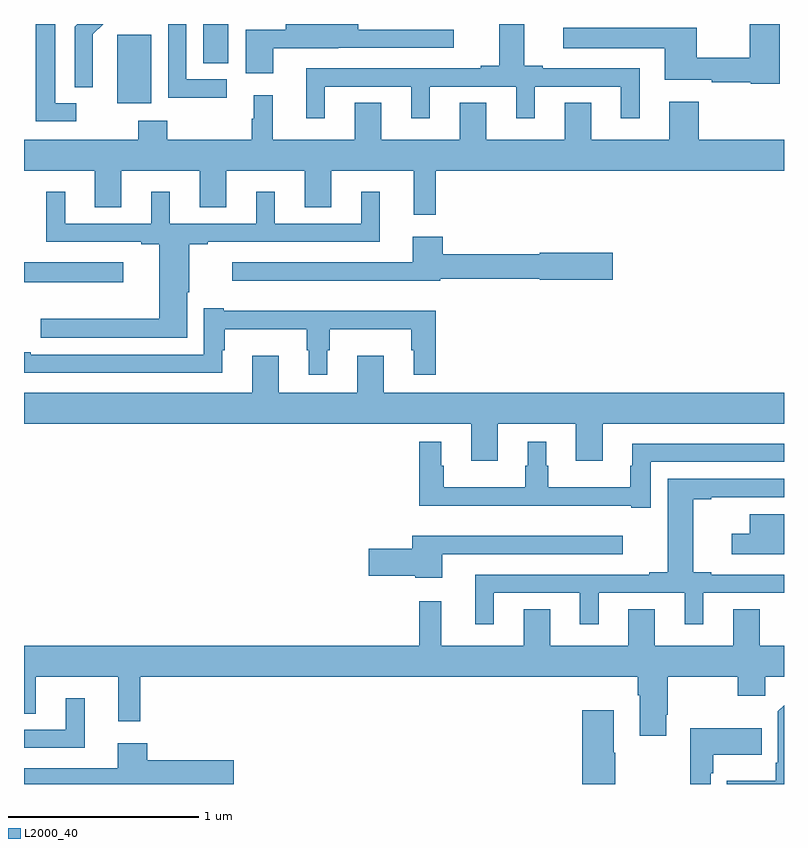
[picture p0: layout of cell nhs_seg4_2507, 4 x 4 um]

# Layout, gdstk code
import gdstk
lib = gdstk.Library(unit=1e-6, precision=1e-09)
def R(c, l, rs):  # rectangles x0, y0, x1, y1
    for r in rs: c.add(gdstk.rectangle(r[:2], r[2:], *l))
def P(c, l, *ps):  # polygons
    for p in ps: c.add(gdstk.Polygon(p, *l))
L2000_40 = (2000, 40)

nhs_seg4_2507 = lib.new_cell('nhs_seg4_2507')
R(nhs_seg4_2507, L2000_40, [(241,821.54,241.522,821.647), (241.49,822.482,241.669,822.843), (241.943,822.694,242.074,822.9)])
P(nhs_seg4_2507, L2000_40, [(242.311,822.772),(242.654,822.772),(242.654,822.774),(243.262,822.774),(243.262,822.871),(242.758,822.871),(242.758,822.9),(242.378,822.9),(242.378,822.871),(242.168,822.871),(242.168,822.642),(242.311,822.642)],
  [(244.978,822.9),(244.82,822.9),(244.82,822.722),(244.54,822.722),(244.54,822.88),(243.837,822.88),(243.837,822.773),(244.373,822.773),(244.373,822.606),(244.619,822.606),(244.619,822.594),(244.824,822.594),(244.824,822.586),(244.978,822.586)],
  [(242.584,822.57),(243.038,822.57),(243.038,822.405),(243.136,822.405),(243.136,822.57),(243.59,822.57),(243.59,822.405),(243.688,822.405),(243.688,822.57),(244.142,822.57),(244.142,822.405),(244.24,822.405),(244.24,822.666),(243.73,822.666),(243.73,822.679),(243.634,822.679),(243.634,822.9),(243.5,822.9),(243.5,822.679),(243.404,822.679),(243.404,822.666),(242.486,822.666),(242.486,822.405),(242.584,822.405)],
  [(241.276,822.483),(241.165,822.483),(241.165,822.9),(241.061,822.9),(241.061,822.387),(241.276,822.387)],
  [(241.362,822.722),(241.361,822.722),(241.361,822.845),(241.416,822.9),(241.28,822.9),(241.266,822.886),(241.266,822.568),(241.362,822.568)],
  [(242.068,822.609),(241.854,822.609),(241.854,822.9),(241.758,822.9),(241.758,822.511),(242.068,822.511)],
  [(243.167,822.128),(245,822.128),(245,822.292),(244.55,822.292),(244.55,822.49),(244.397,822.49),(244.397,822.292),(243.985,822.292),(243.985,822.485),(243.845,822.485),(243.845,822.292),(243.433,822.292),(243.433,822.485),(243.293,822.485),(243.293,822.292),(242.881,822.292),(242.881,822.485),(242.741,822.485),(242.741,822.292),(242.309,822.292),(242.309,822.526),(242.21,822.526),(242.21,822.401),(242.199,822.401),(242.199,822.292),(241.755,822.292),(241.755,822.391),(241.6,822.391),(241.6,822.292),(241,822.292),(241,822.128),(241.373,822.128),(241.373,821.935),(241.513,821.935),(241.513,822.128),(241.925,822.128),(241.925,821.935),(242.065,821.935),(242.065,822.128),(242.477,822.128),(242.477,821.935),(242.617,821.935),(242.617,822.128),(243.05,822.128),(243.05,821.895),(243.167,821.895)],
  [(241.858,821.487),(241.87,821.487),(241.87,821.742),(241.966,821.742),(241.966,821.754),(242.873,821.754),(242.873,822.016),(242.774,822.016),(242.774,821.85),(242.32,821.85),(242.32,822.016),(242.222,822.016),(242.222,821.85),(241.768,821.85),(241.768,822.016),(241.67,822.016),(241.67,821.85),(241.216,821.85),(241.216,822.016),(241.118,822.016),(241.118,821.754),(241.616,821.754),(241.616,821.742),(241.712,821.742),(241.712,821.348),(241.089,821.348),(241.089,821.25),(241.858,821.25)],
  [(243.19,821.56),(243.714,821.56),(243.714,821.555),(244.099,821.555),(244.099,821.697),(243.714,821.697),(243.714,821.689),(243.203,821.689),(243.203,821.779),(243.047,821.779),(243.047,821.646),(242.097,821.646),(242.097,821.549),(243.19,821.549)],
  [(242.596,821.183),(242.608,821.183),(242.608,821.294),(243.039,821.294),(243.039,821.183),(243.05,821.183),(243.05,821.055),(243.167,821.055),(243.167,821.392),(242.05,821.392),(242.05,821.404),(241.947,821.404),(241.947,821.16),(241.036,821.16),(241.036,821.173),(241,821.173),(241,821.064),(242.044,821.064),(242.044,821.183),(242.056,821.183),(242.056,821.294),(242.487,821.294),(242.487,821.183),(242.498,821.183),(242.498,821.055),(242.596,821.055)],
  [(243.493,820.796),(243.905,820.796),(243.905,820.602),(244.045,820.602),(244.045,820.796),(245,820.796),(245,820.96),(242.893,820.96),(242.893,821.155),(242.753,821.155),(242.753,820.96),(242.341,820.96),(242.341,821.155),(242.201,821.155),(242.201,820.96),(241,820.96),(241,820.796),(243.353,820.796),(243.353,820.602),(243.493,820.602)],
  [(244.299,820.596),(245,820.596),(245,820.692),(244.202,820.692),(244.202,820.574),(244.191,820.574),(244.191,820.462),(243.76,820.462),(243.76,820.574),(243.748,820.574),(243.748,820.702),(243.65,820.702),(243.65,820.574),(243.639,820.574),(243.639,820.462),(243.208,820.462),(243.208,820.574),(243.196,820.574),(243.196,820.702),(243.079,820.702),(243.079,820.364),(244.196,820.364),(244.196,820.353),(244.299,820.353)],
  [(243.472,819.906),(243.926,819.906),(243.926,819.741),(244.024,819.741),(244.024,819.906),(244.478,819.906),(244.478,819.741),(244.576,819.741),(244.576,819.906),(245,819.906),(245,820.002),(244.618,820.002),(244.618,820.015),(244.522,820.015),(244.522,820.398),(244.618,820.398),(244.618,820.41),(245,820.41),(245,820.506),(244.388,820.506),(244.388,820.015),(244.292,820.015),(244.292,820.002),(243.374,820.002),(243.374,819.741),(243.472,819.741)],
  [(245,820.321),(244.82,820.321),(244.82,820.216),(244.725,820.216),(244.725,820.109),(245,820.109)],
  [(243.202,820.11),(244.15,820.11),(244.15,820.207),(243.044,820.207),(243.044,820.139),(242.814,820.139),(242.814,819.997),(243.06,819.997),(243.06,819.986),(243.202,819.986)],
  [(244.381,819.265),(244.389,819.265),(244.389,819.464),(244.756,819.464),(244.756,819.365),(244.902,819.365),(244.902,819.464),(245,819.464),(245,819.628),(244.873,819.628),(244.873,819.821),(244.733,819.821),(244.733,819.628),(244.321,819.628),(244.321,819.821),(244.181,819.821),(244.181,819.628),(243.769,819.628),(243.769,819.821),(243.629,819.821),(243.629,819.628),(243.197,819.628),(243.197,819.862),(243.079,819.862),(243.079,819.628),(241,819.628),(241,819.271),(241.063,819.271),(241.063,819.464),(241.496,819.464),(241.496,819.231),(241.613,819.231),(241.613,819.464),(244.229,819.464),(244.229,819.368),(244.241,819.368),(244.241,819.153),(244.381,819.153)],
  [(241.319,819.352),(241.22,819.352),(241.22,819.186),(241,819.186),(241,819.09),(241.319,819.09)],
  [(245,819.314),(244.968,819.282),(244.968,819.013),(244.956,819.013),(244.956,818.917),(244.699,818.917),(244.699,818.9),(245,818.9)],
  [(244.113,819.065),(244.105,819.065),(244.105,819.289),(243.938,819.289),(243.938,818.9),(244.113,818.9)],
  [(244.614,818.957),(244.627,818.957),(244.627,819.053),(244.883,819.053),(244.883,819.193),(244.506,819.193),(244.506,818.9),(244.614,818.9)],
  [(242.105,819.025),(241.649,819.025),(241.649,819.115),(241.493,819.115),(241.493,818.982),(241,818.982),(241,818.9),(242.105,818.9)])

lib.write_gds('nhs_seg4_2507.gds')
